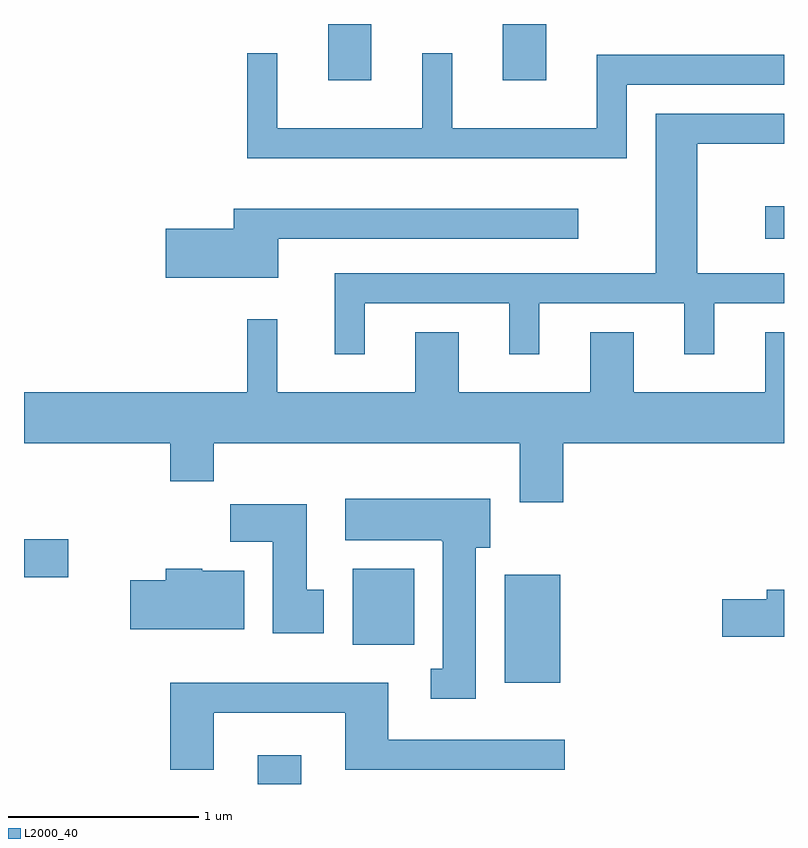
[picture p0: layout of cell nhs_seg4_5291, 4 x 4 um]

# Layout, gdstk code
import gdstk
lib = gdstk.Library(unit=1e-6, precision=1e-09)
def R(c, l, rs):  # rectangles x0, y0, x1, y1
    for r in rs: c.add(gdstk.rectangle(r[:2], r[2:], *l))
def P(c, l, *ps):  # polygons
    for p in ps: c.add(gdstk.Polygon(p, *l))
L2000_40 = (2000, 40)

nhs_seg4_5291 = lib.new_cell('nhs_seg4_5291')
R(nhs_seg4_5291, L2000_40, [(340.841,1363.982,341.069,1364.134), (342.141,1364.516,342.434,1365.084), (341.341,1364.716,341.664,1365.114), (339.611,1365.071,339.844,1365.269), (343.511,1366.851,343.611,1367.024), (341.211,1367.686,341.439,1367.982), (342.131,1367.686,342.359,1367.982)])
P(nhs_seg4_5291, L2000_40, [(342.784,1367.661),(343.611,1367.661),(343.611,1367.819),(342.626,1367.819),(342.626,1367.434),(341.864,1367.434),(341.864,1367.828),(341.706,1367.828),(341.706,1367.434),(340.944,1367.434),(340.944,1367.828),(340.786,1367.828),(340.786,1367.276),(342.784,1367.276)],
  [(341.404,1366.511),(342.166,1366.511),(342.166,1366.243),(342.324,1366.243),(342.324,1366.511),(343.086,1366.511),(343.086,1366.243),(343.244,1366.243),(343.244,1366.511),(343.611,1366.511),(343.611,1366.669),(343.154,1366.669),(343.154,1367.351),(343.611,1367.351),(343.611,1367.509),(342.936,1367.509),(342.936,1366.669),(341.246,1366.669),(341.246,1366.243),(341.404,1366.243)],
  [(340.949,1366.851),(342.528,1366.851),(342.528,1367.009),(340.716,1367.009),(340.716,1366.904),(340.356,1366.904),(340.356,1366.646),(340.949,1366.646)],
  [(342.449,1365.776),(343.611,1365.776),(343.611,1366.359),(343.511,1366.359),(343.511,1366.044),(342.819,1366.044),(342.819,1366.359),(342.591,1366.359),(342.591,1366.044),(341.899,1366.044),(341.899,1366.359),(341.671,1366.359),(341.671,1366.044),(340.944,1366.044),(340.944,1366.428),(340.786,1366.428),(340.786,1366.044),(339.611,1366.044),(339.611,1365.776),(340.381,1365.776),(340.381,1365.576),(340.609,1365.576),(340.609,1365.776),(342.221,1365.776),(342.221,1365.466),(342.449,1365.466)],
  [(341.989,1365.226),(342.064,1365.226),(342.064,1365.484),(341.301,1365.484),(341.301,1365.266),(341.81,1365.266),(341.81,1365.26),(341.816,1365.26),(341.816,1364.589),(341.753,1364.589),(341.753,1364.431),(341.989,1364.431)],
  [(341.189,1365.004),(341.099,1365.004),(341.099,1365.454),(340.696,1365.454),(340.696,1365.256),(340.921,1365.256),(340.921,1364.776),(341.189,1364.776)],
  [(340.769,1365.104),(340.55,1365.104),(340.55,1365.114),(340.356,1365.114),(340.356,1365.054),(340.171,1365.054),(340.171,1364.796),(340.769,1364.796)],
  [(343.611,1365.004),(343.521,1365.004),(343.521,1364.954),(343.286,1364.954),(343.286,1364.756),(343.611,1364.756)],
  [(340.609,1364.356),(341.301,1364.356),(341.301,1364.056),(342.458,1364.056),(342.458,1364.214),(341.529,1364.214),(341.529,1364.514),(340.381,1364.514),(340.381,1364.056),(340.609,1364.056)])

lib.write_gds('nhs_seg4_5291.gds')
